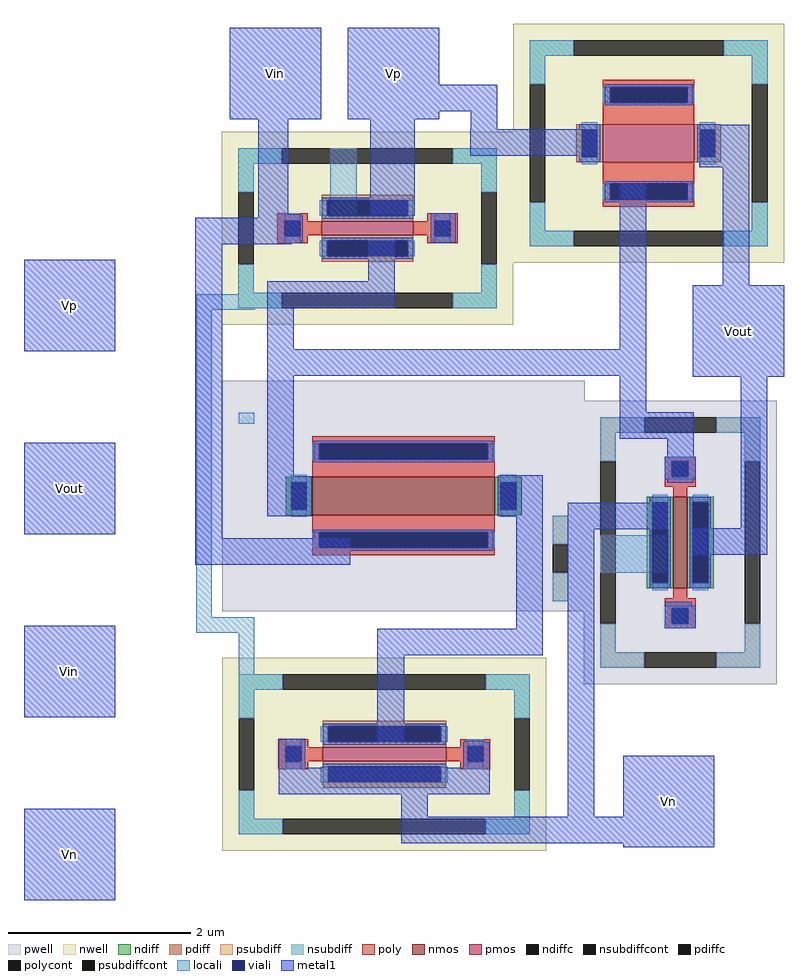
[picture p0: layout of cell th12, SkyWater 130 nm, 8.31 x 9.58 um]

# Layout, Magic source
magic
tech sky130A
magscale 1 2
<< locali >>
rect 670 298 728 444
rect 377 91 505 125
rect 377 -581 411 91
rect 1260 -484 1408 -402
rect 377 -615 504 -581
rect 470 -776 504 -615
<< metal1 >>
rect 450 508 650 708
rect 708 583 908 708
rect 708 525 1035 583
rect 708 508 908 525
rect 512 300 578 508
rect 512 292 606 300
rect 757 299 854 508
rect 977 486 1035 525
rect 976 428 1255 486
rect 1477 403 1586 495
rect 375 236 606 292
rect 375 234 585 236
rect 0 0 200 200
rect 0 -400 200 -200
rect 375 -409 433 234
rect 753 153 811 241
rect 890 238 944 302
rect 532 95 811 153
rect 532 5 590 95
rect 1303 5 1361 365
rect 1528 144 1586 403
rect 532 -53 1361 5
rect 532 -273 590 -53
rect 1303 -133 1361 -53
rect 1462 -56 1662 144
rect 1303 -191 1465 -133
rect 532 -361 629 -273
rect 1037 -361 1134 -271
rect 1407 -287 1465 -191
rect 375 -467 713 -409
rect 0 -800 200 -600
rect 1076 -607 1134 -361
rect 773 -665 1134 -607
rect 1189 -389 1409 -331
rect 1567 -387 1625 -56
rect 557 -911 615 -847
rect 773 -853 831 -665
rect 961 -911 1019 -855
rect 557 -969 1019 -911
rect 0 -1200 200 -1000
rect 825 -1018 883 -969
rect 1189 -1018 1247 -389
rect 1463 -445 1625 -387
rect 1402 -606 1460 -548
rect 1310 -1018 1510 -884
rect 825 -1076 1510 -1018
rect 1310 -1084 1510 -1076
use sky130_fd_pr__pfet_01v8_P28Q2U  XM0
transform 0 -1 788 1 0 -881
box -211 -354 211 354
use sky130_fd_pr__nfet_01v8_HZA4VB  XM1
transform 1 0 830 0 1 -316
box -396 -252 396 252
use sky130_fd_pr__pfet_01v8_XGS3BL  XM2
transform 0 -1 751 1 0 269
box -211 -319 211 319
use sky130_fd_pr__pfet_01v8_WV9GCW  XM3
transform 1 0 1366 0 1 455
box -296 -261 296 261
use sky130_fd_pr__nfet_01v8_648S5X  XM4
transform 1 0 1435 0 1 -418
box -211 -310 211 310
<< labels >>
flabel metal1 1462 -56 1662 144 0 FreeSans 256 0 0 0 Vout
port 1 nsew
flabel metal1 450 508 650 708 0 FreeSans 256 0 0 0 Vin
port 2 nsew
flabel metal1 708 508 908 708 0 FreeSans 256 0 0 0 Vp
port 0 nsew
flabel metal1 1310 -1084 1510 -884 0 FreeSans 256 0 0 0 Vn
port 3 nsew
flabel metal1 0 0 200 200 0 FreeSans 256 0 0 0 Vp
flabel metal1 0 -400 200 -200 0 FreeSans 256 0 0 0 Vout
flabel metal1 0 -800 200 -600 0 FreeSans 256 0 0 0 Vin
flabel metal1 0 -1200 200 -1000 0 FreeSans 256 0 0 0 Vn
<< end >>

# cell sky130_fd_pr__pfet_01v8_P28Q2U: kit device sky130_fd_pr__pfet_01v8, w 1.349 l 0.151 m 1 nf 1 diffcov 100 polycov 100 guard 1 glc 1 grc 1 gtc 1 gbc 1 tbcov 100 rlcov 100 topc 1 botc 1 poverlap 0 doverlap 1 lmin 0.15 wmin 0.42 compatible {sky130_fd_pr__pfet_01v8 sky130_fd_pr__pfet_01v8_lvt sky130_fd_pr__pfet_01v8_hvt sky130_fd_pr__pfet_g5v0d10v5} full_metal 1 viasrc 100 viadrn 100 viagate 100 viagb 0 viagr 0 viagl 0 viagt 0

# cell sky130_fd_pr__nfet_01v8_HZA4VB: kit device sky130_fd_pr__nfet_01v8, w 0.42 l 2.0 m 1 nf 1 diffcov 100 polycov 100 guard 1 glc 1 grc 1 gtc 1 gbc 1 tbcov 100 rlcov 100 topc 1 botc 1 poverlap 0 doverlap 1 lmin 0.15 wmin 0.42 compatible {sky130_fd_pr__nfet_01v8 sky130_fd_pr__nfet_01v8_lvt sky130_fd_bs_flash__special_sonosfet_star sky130_fd_pr__nfet_g5v0d10v5 sky130_fd_pr__nfet_05v0_nvt sky130_fd_pr__nfet_03v3_nvt} full_metal 1 viasrc 100 viadrn 100 viagate 100 viagb 0 viagr 0 viagl 0 viagt 0

# cell sky130_fd_pr__pfet_01v8_XGS3BL: kit device sky130_fd_pr__pfet_01v8, w 1.0 l 0.15 m 1 nf 1 diffcov 100 polycov 100 guard 1 glc 1 grc 1 gtc 1 gbc 1 tbcov 100 rlcov 100 topc 1 botc 1 poverlap 0 doverlap 1 lmin 0.15 wmin 0.42 compatible {sky130_fd_pr__pfet_01v8 sky130_fd_pr__pfet_01v8_lvt sky130_fd_pr__pfet_01v8_hvt sky130_fd_pr__pfet_g5v0d10v5} full_metal 1 viasrc 100 viadrn 100 viagate 100 viagb 0 viagr 0 viagl 0 viagt 0

# cell sky130_fd_pr__pfet_01v8_WV9GCW: kit device sky130_fd_pr__pfet_01v8, w 0.42 l 1.0 m 1 nf 1 diffcov 100 polycov 100 guard 1 glc 1 grc 1 gtc 1 gbc 1 tbcov 100 rlcov 100 topc 1 botc 1 poverlap 0 doverlap 1 lmin 0.15 wmin 0.42 compatible {sky130_fd_pr__pfet_01v8 sky130_fd_pr__pfet_01v8_lvt sky130_fd_pr__pfet_01v8_hvt sky130_fd_pr__pfet_g5v0d10v5} full_metal 1 viasrc 100 viadrn 100 viagate 100 viagb 0 viagr 0 viagl 0 viagt 0

# cell sky130_fd_pr__nfet_01v8_648S5X: kit device sky130_fd_pr__nfet_01v8, w 1.0 l 0.15 m 1 nf 1 diffcov 100 polycov 100 guard 1 glc 1 grc 1 gtc 1 gbc 1 tbcov 100 rlcov 100 topc 1 botc 1 poverlap 0 doverlap 1 lmin 0.15 wmin 0.42 compatible {sky130_fd_pr__nfet_01v8 sky130_fd_pr__nfet_01v8_lvt sky130_fd_bs_flash__special_sonosfet_star sky130_fd_pr__nfet_g5v0d10v5 sky130_fd_pr__nfet_05v0_nvt sky130_fd_pr__nfet_03v3_nvt} full_metal 1 viasrc 100 viadrn 100 viagate 100 viagb 0 viagr 0 viagl 0 viagt 0
